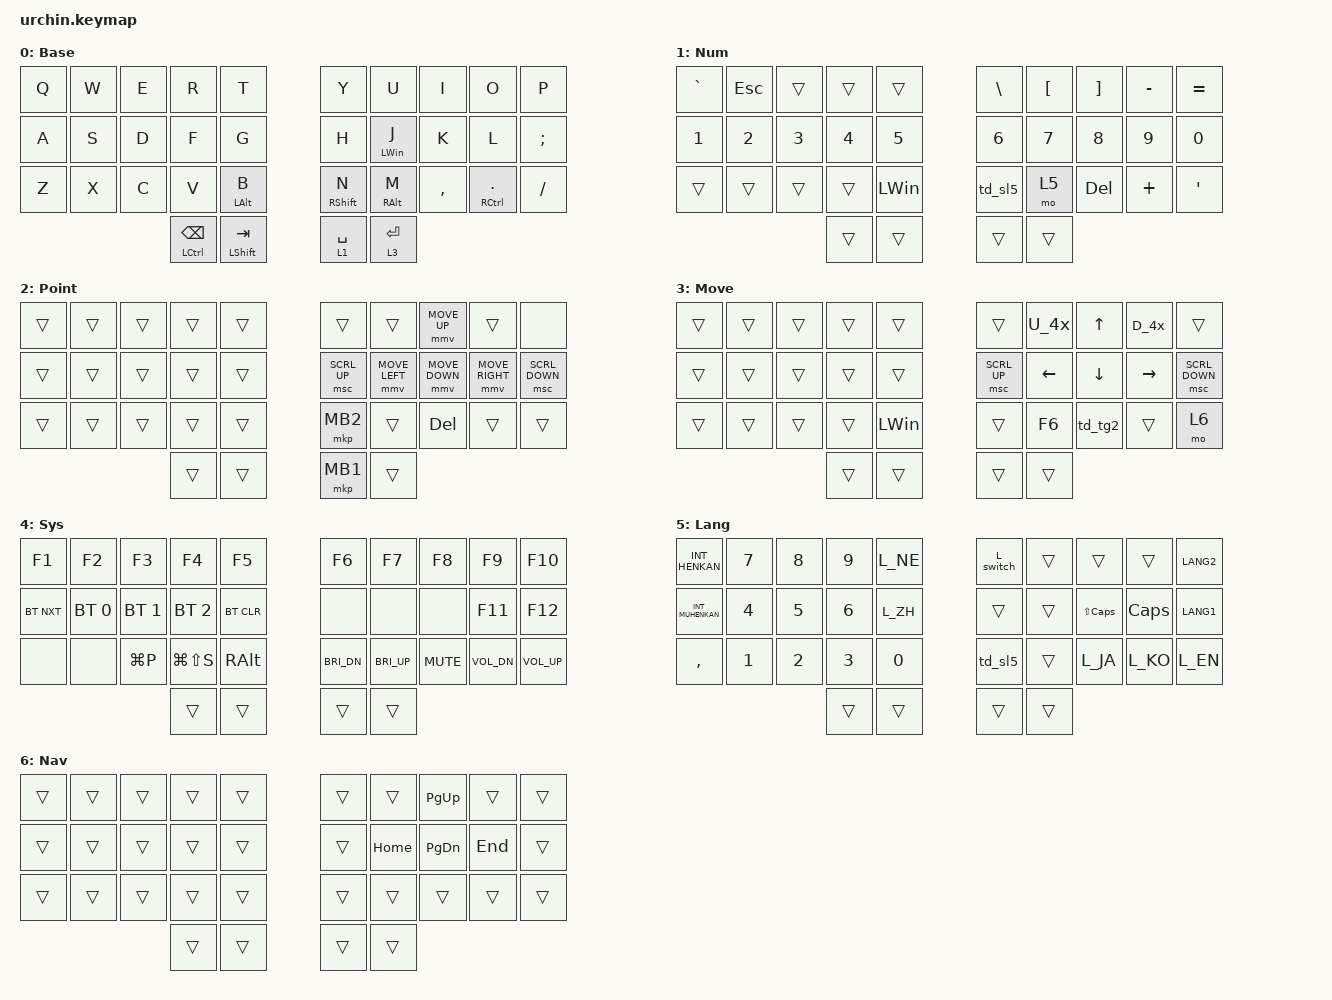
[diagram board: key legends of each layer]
/*
 * Copyright (c) 2020 duckyb
 *
 * SPDX-License-Identifier: MIT
 */

#include <behaviors.dtsi>
#include <dt-bindings/zmk/bt.h>
#include <dt-bindings/zmk/keys.h>
#include <dt-bindings/zmk/pointing.h>
#include <dt-bindings/zmk/behaviors.h>

// Layer definitions

#define BASE 0
#define NUM 1
#define POINT 2
#define MOVE 3
#define SETTINGS 4
#define LANG 5
#define NAV 6

// flavor

&mt { flavor = "tap-preferred"; };

 / {
    behaviors {
        ht: hold_tap {
            compatible = "zmk,behavior-hold-tap";
            #binding-cells = <2>;
            flavor = "hold-preferred";
            tapping-term-ms = <150>;
            quick-tap-ms = <100>;
            require-prior-idle-ms = <0>;
            bindings = <&kp>, <&kp>;
            display-name = "Hold-Tap";
        };

        td_tg2: tap_toggle_2 {
            compatible = "zmk,behavior-tap-dance";
            #binding-cells = <0>;
            tapping-term-ms = <150>;
            bindings = <&none>, <&tog 2>;
        };

        td_sl5: tap_stickyl_5 {
            compatible = "zmk,behavior-tap-dance";
            #binding-cells = <0>;
            tapping-term-ms = <150>;
            bindings = <&none>, <&tog 5>;
        };
    };

    macros {
        D_4x: D_4x {
            compatible = "zmk,behavior-macro";
            #binding-cells = <0>;
            bindings = <&kp DOWN &kp DOWN &kp DOWN &kp DOWN>;
            label = "D_4x";
        };

        U_4x: U_4x {
            compatible = "zmk,behavior-macro";
            #binding-cells = <0>;
            bindings = <&kp UP &kp UP &kp UP &kp UP>;
            label = "U_4x";
        };

        L_switch: L_switch {
            compatible = "zmk,behavior-macro";
            #binding-cells = <0>;
            bindings = 
                <&macro_press>, <&kp LALT>,
                <&macro_tap>, <&kp LSHIFT>,
                <&macro_release>, <&kp LALT>;
            label = "L_switch";
        };    

        L_JA: L_JA {
            compatible = "zmk,behavior-macro";
            #binding-cells = <0>;
            bindings = 
                <&macro_press>, <&kp LALT>,
                <&macro_press>, <&kp LSHIFT>,
                <&macro_tap>, <&kp N0>,
                <&macro_release>, <&kp LSHIFT>,
                <&macro_release>, <&kp LALT>,
                <&macro_press>, <&kp LSHIFT>,
                <&macro_press>, <&kp CAPS>,
                <&macro_release>, <&kp CAPS>,
                <&macro_release>, <&kp LSHIFT>;
            label = "L_JA";
        };

        L_KO: L_KO {
            compatible = "zmk,behavior-macro";
            #binding-cells = <0>;
            bindings = 
                <&macro_press>, <&kp LALT>,
                <&macro_press>, <&kp LSHIFT>,
                <&macro_tap>, <&kp N9>,
                <&macro_release>, <&kp LSHIFT>,
                <&macro_release>, <&kp LALT>,
                <&macro_press>, <&kp LANG1>,
                <&macro_release>, <&kp LANG1>;
            label = "L_KO";
        };

        L_EN: L_EN {
            compatible = "zmk,behavior-macro";
            #binding-cells = <0>;
            bindings = 	
                <&macro_press>, <&kp LALT>,
                <&macro_press>, <&kp LSHIFT>,
                <&macro_tap>, <&kp N8>,
                <&macro_release>, <&kp LSHIFT>,
                <&macro_release>, <&kp LALT>;
            label = "L_EN";
        };

        L_ZH: L_ZH {
            compatible = "zmk,behavior-macro";
            #binding-cells = <0>;
            bindings = 
                <&macro_press>, <&kp LALT>,
                <&macro_press>, <&kp LSHIFT>,
                <&macro_tap>, <&kp N7>,
                <&macro_release>, <&kp LSHIFT>,
                <&macro_release>, <&kp LALT>;
            label = "L_ZH";
        };

        L_NE: L_NE {
            compatible = "zmk,behavior-macro";
            #binding-cells = <0>;
            bindings = 
                <&macro_press>, <&kp LALT>,
                <&macro_press>, <&kp LSHIFT>,
                <&macro_tap>, <&kp N6>,
                <&macro_release>, <&kp LSHIFT>,
                <&macro_release>, <&kp LALT>;
            label = "L_NE";
        };
    };

    combos {
        compatible = "zmk,combos";

        combo_esc {
            bindings = <&kp ESCAPE>;
            key-positions = <16 17>;
            layers = <0 1 3 4 5>;
        };

        Switch_L4 {
            bindings = <&sl 4>;
            key-positions = <30 31>;
            timeout-ms = <50>;
        };

        Toggle_L4 {
            bindings = <&tog 4>;
            key-positions = <30 31 32>;
        };
        
        Sys_reset {
            bindings = <&sys_reset>;
            key-positions = <20 24>;
            layers = <4>;
        };

        Bootloader {
            bindings = <&bootloader>;
            key-positions = <21 24>;
            layers = <4>;
        };
    };

    keymap {
    compatible = "zmk,keymap";

    // Base alpha layer
    default {
        label = "Base";
        bindings = <
        &kp Q       &kp W       &kp E   &kp R          &kp T               &kp Y           &kp U            &kp I           &kp O           &kp P 
        &kp A       &kp S       &kp D   &kp F          &kp G               &kp H           &mt LWIN J       &kp K           &kp L           &kp SEMICOLON
        &kp Z       &kp X       &kp C   &kp V          &mt LALT B          &mt RSHIFT N    &mt RALT M       &kp COMMA       &mt RCTRL DOT   &kp SLASH
                                        &mt LCTRL BSPC &mt LSHIFT TAB      &lt 1 SPACE     &lt 3 ENTER
        >;
    };

    // Numbers and symbols
    num_sym {
        label = "Num";
        bindings = <
        &kp GRAVE   &kp ESC     &trans  &trans          &trans         &kp BSLH        &kp LBKT         &kp RBKT        &kp MINUS       &kp EQUAL 
        &kp N1      &kp N2      &kp N3  &kp N4          &kp N5         &kp N6          &kp N7           &kp N8          &kp N9          &kp N0
        &trans      &trans      &trans  &trans          &kp LWIN       &td_sl5         &mo 5            &kp DEL         &kp PLUS        &kp APOS
                                        &trans          &trans         &trans          &trans
        >;
    };


    // mouse pointing
    pointing {
        label = "Point";
        bindings = <
        &trans      &trans      &trans   &trans          &trans        &trans           &trans          &mmv MOVE_UP      &trans            &none
        &trans      &trans      &trans   &trans          &trans        &msc SCRL_UP     &mmv MOVE_LEFT  &mmv MOVE_DOWN    &mmv MOVE_RIGHT   &msc SCRL_DOWN
        &trans      &trans      &trans   &trans          &trans        &mkp MB2         &trans          &kp DEL           &trans            &trans 
                                         &trans          &trans        &mkp MB1         &trans
        >;
    };


    // moves cursor
    move {
        label = "Move";
        bindings = <
        &trans      &trans      &trans   &trans          &trans        &trans           &U_4x          &kp UP       &D_4x         &trans
        &trans      &trans      &trans   &trans          &trans        &msc SCRL_UP     &kp LEFT       &kp DOWN     &kp RIGHT     &msc SCRL_DOWN 
        &trans      &trans      &trans   &trans          &kp LWIN      &trans           &kp F6         &td_tg2      &trans        &mo 6 
                                         &trans          &trans        &trans           &trans
        >;
    };

    // bluetooth, system, and functions
    system {
        label = "Sys";
        bindings = <
        &kp F1      &kp F2              &kp F3          &kp F4              &kp F5            &kp F6          &kp F7          &kp F8          &kp F9          &kp F10
        &bt BT_NXT  &bt BT_SEL 0        &bt BT_SEL 1    &bt BT_SEL 2        &bt BT_CLR        &none           &none           &none           &kp F11         &kp F12  
        &none       &none               &kp LG(P)       &kp LG(LS(S))       &kp RALT          &kp C_BRI_DN    &kp C_BRI_UP    &kp C_MUTE      &kp C_VOL_DN    &kp C_VOL_UP
                                                        &trans              &trans            &trans          &trans
        >; 
    };

    // language settings
    language {
        label = "Lang";
        bindings = <
        &kp INT_HENKAN     &kp N7      &kp N8         &kp N9         &L_NE      &L_switch    &trans       &trans          &trans          &kp LANG2
        &kp INT_MUHENKAN   &kp N4      &kp N5         &kp N6         &L_ZH      &trans       &trans       &kp LS(CAPS)    &kp CAPS        &kp LANG1
        &kp COMMA          &kp N1      &kp N2         &kp N3         &kp N0      &td_sl5      &trans       &L_JA           &L_KO           &L_EN
                                                      &trans         &trans      &trans       &trans
        >;
    };

    // navigation
    navigation {
        label = "Nav";
        bindings = <
        &trans          &trans      &trans          &trans          &trans      &trans          &trans      &kp PAGE_UP       &trans          &trans      
        &trans          &trans      &trans          &trans          &trans      &trans          &kp HOME    &kp PAGE_DOWN     &kp END         &trans
        &trans          &trans      &trans          &trans          &trans      &trans          &trans      &trans            &trans          &trans      
                                                    &trans          &trans      &trans          &trans
        >;
    };
 };
 };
